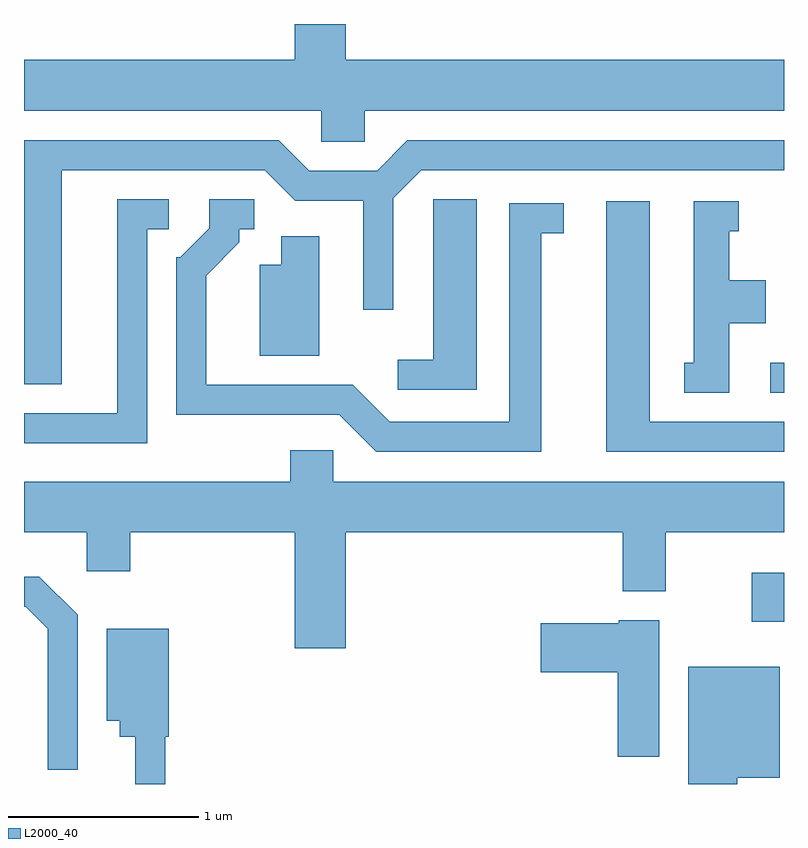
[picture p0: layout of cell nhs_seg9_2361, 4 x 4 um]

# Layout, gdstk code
import gdstk
lib = gdstk.Library(unit=1e-6, precision=1e-09)
def R(c, l, rs):  # rectangles x0, y0, x1, y1
    for r in rs: c.add(gdstk.rectangle(r[:2], r[2:], *l))
def P(c, l, *ps):  # polygons
    for p in ps: c.add(gdstk.Polygon(p, *l))
L2000_40 = (2000, 40)

nhs_seg9_2361 = lib.new_cell('nhs_seg9_2361')
R(nhs_seg9_2361, L2000_40, [(257.441,2051.286,257.611,2051.544), (257.538,2052.491,257.611,2052.649)])
P(nhs_seg9_2361, L2000_40, [(255.404,2053.976),(257.611,2053.976),(257.611,2054.244),(255.304,2054.244),(255.304,2054.432),(255.036,2054.432),(255.036,2054.244),(253.611,2054.244),(253.611,2053.976),(255.176,2053.976),(255.176,2053.811),(255.404,2053.811)],
  [(253.809,2053.661),(254.879,2053.661),(255.039,2053.501),(255.396,2053.501),(255.396,2052.928),(255.554,2052.928),(255.554,2053.514),(255.702,2053.661),(257.611,2053.661),(257.611,2053.819),(255.629,2053.819),(255.469,2053.659),(255.112,2053.659),(254.952,2053.819),(253.611,2053.819),(253.611,2052.536),(253.809,2052.536)],
  [(256.334,2053.331),(256.453,2053.331),(256.453,2053.489),(256.166,2053.489),(256.166,2052.339),(255.537,2052.339),(255.342,2052.534),(254.569,2052.534),(254.569,2053.108),(254.744,2053.284),(254.744,2053.351),(254.823,2053.351),(254.823,2053.509),(254.586,2053.509),(254.586,2053.356),(254.434,2053.204),(254.411,2053.204),(254.411,2052.376),(255.269,2052.376),(255.464,2052.181),(256.334,2052.181)],
  [(254.259,2053.351),(254.373,2053.351),(254.373,2053.509),(254.101,2053.509),(254.101,2052.384),(253.611,2052.384),(253.611,2052.226),(254.259,2052.226)],
  [(255.994,2053.509),(255.766,2053.509),(255.766,2052.664),(255.578,2052.664),(255.578,2052.506),(255.994,2052.506)],
  [(257.324,2052.856),(257.514,2052.856),(257.514,2053.084),(257.324,2053.084),(257.324,2053.341),(257.373,2053.341),(257.373,2053.499),(257.136,2053.499),(257.136,2052.649),(257.087,2052.649),(257.087,2052.491),(257.324,2052.491)],
  [(257.611,2052.339),(256.904,2052.339),(256.904,2053.499),(256.676,2053.499),(256.676,2052.181),(257.611,2052.181)],
  [(255.164,2053.314),(254.966,2053.314),(254.966,2053.164),(254.851,2053.164),(254.851,2052.686),(255.164,2052.686)],
  [(255.304,2051.756),(256.761,2051.756),(256.761,2051.446),(256.989,2051.446),(256.989,2051.756),(257.611,2051.756),(257.611,2052.024),(255.239,2052.024),(255.239,2052.189),(255.011,2052.189),(255.011,2052.024),(253.611,2052.024),(253.611,2051.756),(253.941,2051.756),(253.941,2051.551),(254.169,2051.551),(254.169,2051.756),(255.036,2051.756),(255.036,2051.146),(255.304,2051.146)],
  [(253.894,2051.322),(253.692,2051.524),(253.611,2051.524),(253.611,2051.366),(253.619,2051.366),(253.736,2051.249),(253.736,2050.508),(253.894,2050.508)],
  [(256.954,2051.294),(256.74,2051.294),(256.74,2051.279),(256.331,2051.279),(256.331,2051.021),(256.736,2051.021),(256.736,2050.576),(256.954,2050.576)],
  [(254.354,2050.681),(254.374,2050.681),(254.374,2051.249),(254.046,2051.249),(254.046,2050.766),(254.116,2050.766),(254.116,2050.681),(254.196,2050.681),(254.196,2050.432),(254.354,2050.432)],
  [(257.364,2050.466),(257.589,2050.466),(257.589,2051.049),(257.106,2051.049),(257.106,2050.432),(257.364,2050.432)])

lib.write_gds('nhs_seg9_2361.gds')
